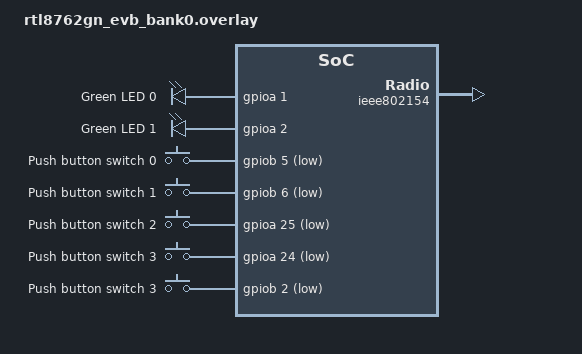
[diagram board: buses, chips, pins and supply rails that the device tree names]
/ {
	chosen {
		zephyr,ieee802154 = &ieee802154;
		zephyr,code-partition = &app_partition_0;
	};

	leds {
		compatible = "gpio-leds";
		led0: led_0 {
			gpios = <&gpioa 1 GPIO_ACTIVE_HIGH>;
			label = "Green LED 0";
		};
		led1: led_1 {
			gpios = <&gpioa 2 GPIO_ACTIVE_HIGH>;
			label = "Green LED 1";
		};
	};

    buttons {
		compatible = "gpio-keys";
		button0: button_0 {
			gpios = <&gpiob 5 (GPIO_PULL_UP | GPIO_ACTIVE_LOW)>;
			label = "Push button switch 0";
		};
		button1: button_1 {
			gpios = <&gpiob 6 (GPIO_PULL_UP | GPIO_ACTIVE_LOW)>;
			label = "Push button switch 1";
		};
		button2: button_2 {
			gpios = <&gpioa 25 (GPIO_PULL_UP | GPIO_ACTIVE_LOW)>;
			label = "Push button switch 2";
		};
		button3: button_3 {
			gpios = <&gpioa 24 (GPIO_PULL_UP | GPIO_ACTIVE_LOW)>;
			label = "Push button switch 3";
		};
        button4: button_4 {
			gpios = <&gpiob 2 (GPIO_PULL_UP | GPIO_ACTIVE_LOW)>;
			label = "Push button switch 3";
		};
    };

	/* These aliases are provided for compatibility with samples */
	aliases {
		led0 = &led0;
		led1 = &led1;
        sw0 = &button0;
		sw1 = &button1;
		sw2 = &button2;
		sw3 = &button3;
        sw4 = &button4;
	};

	tcm {
		/delete-node/ memory@100c00;
		/delete-node/ memory@119c00;
		/delete-node/ memory@133c00;

		ram_data: memory@100c00 {
			device_type = "ram data region";
			reg = <0x100c00 0x2DC00>;
		};
		ram_code: memory@12E800 {
			device_type = "ram code region";
			compatible = "zephyr,memory-region", "arm,itcm";
			reg = <0x12E800 0x9800>;
			zephyr,memory-region = "ITCM";
		};
		heap: memory@138000 {
			device_type = "heap region";
			reg = <0x138000 0x4C00>;
		};
	};
};

&gpioa {
	status = "okay";
};

&gpiob {
	status = "okay";
};

&flash {
    reg = <0x4000000 DT_SIZE_M(4)>;
	partitions {
		/delete-node/ partition@2d000;
		/delete-node/ partition@94000;
		/delete-node/ partition@fc000;

		app_partition_0: partition@2d000 {
			label = "app-image";
			reg = <0x2D000 DT_SIZE_K(1024)>;
		};
		/* Bank 1 */
        ota_header_1: partition@12d000 {
			label = "ota-header-1-image";
			reg = <0x12D000 DT_SIZE_K(4)>;
		};
		system_patch_1: partition@12e000 {
			label = "system-patch-1-image";
			reg = <0x12E000 DT_SIZE_K(32)>;
		};
		stack_patch_1: partition@1360000 {
			label = "stack-patch-1-image";
			reg = <0x1360000 DT_SIZE_K(72)>;
		};
		app_partition_1: partition@148000 {
			label = "app-image-1";
			reg = <0x148000 DT_SIZE_K(1024)>;
		};
		/* storage */
		storage_partition: partition@248000 {
			label = "storage";
			reg = <0x248000 DT_SIZE_K(32)>;
		};
	};
};

&ieee802154 {
	status = "okay";
};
